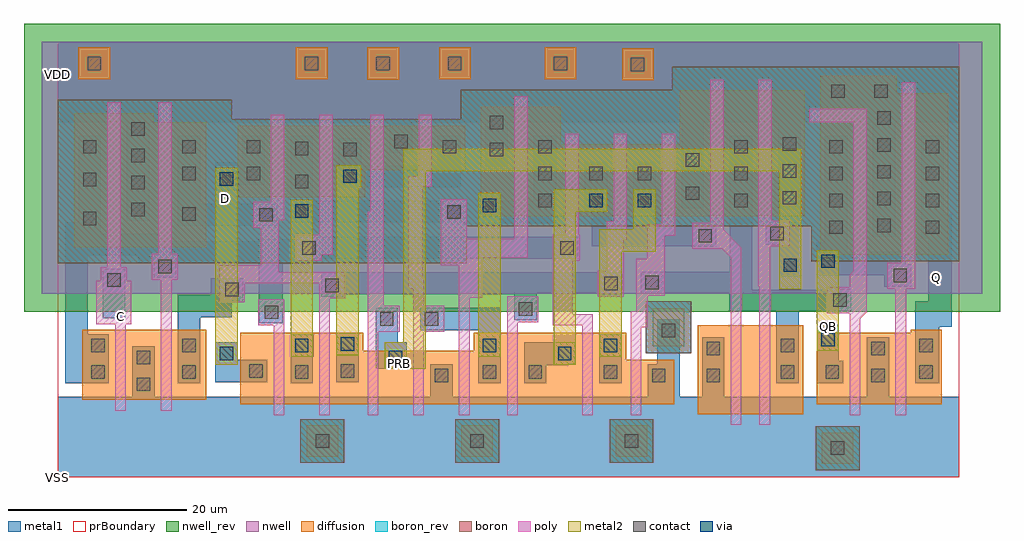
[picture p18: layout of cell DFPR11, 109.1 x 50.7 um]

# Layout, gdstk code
import gdstk
lib = gdstk.Library(unit=1e-6, precision=1e-09)
def R(c, l, rs):  # rectangles x0, y0, x1, y1
    for r in rs: c.add(gdstk.rectangle(r[:2], r[2:], *l))
def A(c, l, x, y, w, h, nx, ny, dx, dy):  # array of equal rectangles
    R(c, l, [(x+i*dx, y+j*dy, x+i*dx+w, y+j*dy+h) for i in range(nx) for j in range(ny)])
def P(c, l, *ps):  # polygons
    for p in ps: c.add(gdstk.Polygon(p, *l))
nwell = (1, 0)
diffusion = (2, 0)
nwell_rev = (3, 0)
poly = (4, 0)
boron = (5, 0)
boron_rev = (6, 0)
contact = (7, 0)
metal1 = (8, 0)
via = (9, 0)
metal2 = (10, 0)
prBoundary = (28, 0)

dfpr11 = lib.new_cell('DFPR11')
R(dfpr11, nwell, [(-1.75,20.5,103.35,48.7)])
R(dfpr11, diffusion, [(85.45,1.5,88.95,5), (27.85,2.3,31.35,5.8), (45.15,2.3,48.65,5.8), (62.4,2.3,65.9,5.8), (71.55,7.05,83.35,17), (2.75,8.65,16.65,16.5), (66.55,14.65,70.05,18.9), (63.1,44.4,66.65,47.95), (34.6,44.45,38.2,48.05), (2.3,44.5,5.9,48.05), (26.6,44.5,30.2,48.05), (42.65,44.5,46.2,48.05), (54.45,44.5,58,48.05)])
P(dfpr11, diffusion, [(85.25,24.9),(85.25,44.9),(93.8,44.9),(93.8,42.95),(99.55,42.95),(99.55,24.9)],
  [(1.85,25.7),(1.85,40.7),(10.75,40.7),(10.75,39.7),(16.65,39.7),(16.65,25.7)],
  [(20.15,31.3),(20.15,39.3),(45.55,39.3),(45.55,34.3),(34.4,34.3),(34.4,31.3)],
  [(20.45,8.15),(20.45,16.15),(34.15,16.15),(34.15,14.15),(46.55,14.15),(46.55,16.15),(63.55,16.15),(63.55,13.15),(68.95,13.15),(68.95,8.15)],
  [(47.3,29.2),(47.3,41.4),(56.25,41.4),(56.25,37.2),(69.55,37.2),(69.55,43.25),(83.55,43.25),(83.55,29.2)],
  [(84.85,8.15),(84.85,16.15),(95.35,16.15),(95.35,16.5),(98.85,16.5),(98.85,8.15)])
R(dfpr11, nwell_rev, [(-3.75,18.5,105.35,50.7)])
P(dfpr11, poly, [(88.55,6.95),(88.55,18.35),(86,18.35),(86,21.25),(88.55,21.25),(88.55,22.65),(88.95,23.05),(88.95,39.7),(84.05,39.7),(84.05,41.2),(90.45,41.2),(90.45,18.445),(89.75,17.745),(89.75,6.95)],
  [(6.45,7.45),(6.45,17.1),(4.35,17.1),(4.35,21.95),(4.85,21.95),(4.85,23.5),(5.55,23.5),(5.55,41.9),(7.05,41.9),(7.05,23.5),(7.75,23.5),(7.75,21.95),(8.25,21.95),(8.25,17.1),(7.65,17.1),(7.65,7.45)],
  [(11.55,7.45),(11.55,22.1),(10.55,22.1),(10.55,25),(11.25,25),(11.25,41.9),(12.75,41.9),(12.75,25),(13.45,25),(13.45,22.1),(12.75,22.1),(12.75,7.45)],
  [(24.15,6.95),(24.15,17),(22.45,17),(22.45,19.9),(25.35,19.9),(25.35,6.95)],
  [(26.65,24.2),(26.65,27.1),(29.25,27.1),(29.25,40.5),(30.75,40.5),(30.75,24.85),(29.55,24.85),(29.55,24.2)],
  [(29.25,6.95),(29.25,21.7),(20.95,21.7),(20.95,19.55),(18.05,19.55),(18.05,23.7),(22.7,23.7),(22.7,27.9),(21.85,27.9),(21.85,30.8),(23.85,30.8),(23.85,40.5),(25.35,40.5),(25.35,28.75),(24.75,28.75),(24.75,22.9),(32.15,22.9),(32.15,20),(30.45,20),(30.45,6.95)],
  [(34.65,6.95),(34.65,29.7),(34.95,29.7),(34.95,40.5),(36.45,40.5),(36.45,19.15),(38.25,19.15),(38.25,16.25),(35.85,16.25),(35.85,6.95)],
  [(39.75,6.95),(39.75,21.1),(39.2,21.1),(39.2,33.65),(40.35,33.65),(40.35,40.5),(41.85,40.5),(41.85,32.45),(40.85,32.45),(40.85,22.4),(40.95,22.4),(40.95,19.15),(43.25,19.15),(43.25,16.25),(40.95,16.25),(40.95,6.95)],
  [(44.85,6.95),(44.85,23.7),(42.85,23.7),(42.85,31.1),(45.75,31.1),(45.75,26.65),(51.05,26.65),(51.05,42.6),(52.55,42.6),(52.55,24.55),(47.5,24.55),(47.5,20.05),(46.05,20.05),(46.05,6.95)],
  [(50.25,6.95),(50.25,20.25),(53.75,20.25),(53.75,17.35),(51.45,17.35),(51.45,6.95)],
  [(58.65,6.95),(58.65,17),(55.35,17),(55.35,27.1),(56.75,27.1),(56.75,38.4),(58.25,38.4),(58.25,27.1),(58.4,27.1),(58.4,24.2),(57.6,24.2),(57.6,18.2),(59.85,18.2),(59.85,6.95)],
  [(78.45,5.85),(78.45,21.35),(78.35,21.35),(78.35,44.45),(79.85,44.45),(79.85,28.7),(81.85,28.7),(81.85,25.8),(79.65,25.8),(79.65,5.85)],
  [(93.65,6.95),(93.65,21.1),(92.75,21.1),(92.75,24),(94.35,24),(94.35,44.15),(95.85,44.15),(95.85,21.1),(94.85,21.1),(94.85,6.95)],
  [(60.4,20.2),(60.4,23.1),(61.4,23.1),(61.4,28.6),(62.15,28.6),(62.15,38.4),(63.65,38.4),(63.65,26.55),(63.3,26.55),(63.3,20.2)],
  [(64.05,6.95),(64.05,18.55),(64.7,18.55),(64.7,24.4),(65.9,24.4),(65.9,28.3),(67.55,28.3),(67.55,38.4),(69.05,38.4),(69.05,27),(67.9,27),(67.9,20.3),(65.95,20.3),(65.95,16.75),(65.25,16.75),(65.25,6.95)],
  [(75.25,5.85),(75.25,24.599),(74.299,25.55),(70.95,25.55),(70.95,28.45),(72.95,28.45),(72.95,44.45),(74.45,44.45),(74.45,27.65),(76.45,25.65),(76.45,5.85)])
R(dfpr11, boron, [(84.75,0.8,89.65,5.7), (27.15,1.6,32.05,6.5), (44.45,1.6,49.35,6.5), (61.7,1.6,66.6,6.5), (65.75,13.85,70.85,19.7)])
P(dfpr11, boron, [(0,23.95),(0,42.2),(19.5,42.2),(19.5,40),(45.05,40),(45.05,43.3),(68.7,43.3),(68.7,45.9),(100.8,45.9),(100.8,24.15),(84.25,24.15),(84.25,28.05),(45.75,28.05),(45.75,23.95)])
R(dfpr11, boron_rev, [(84.75,0.8,89.65,5.7), (27.15,1.6,32.05,6.5), (44.45,1.6,49.35,6.5), (61.7,1.6,66.6,6.5), (65.75,13.85,70.85,19.7)])
P(dfpr11, boron_rev, [(0,23.95),(0,42.2),(19.5,42.2),(19.5,40),(45.05,40),(45.05,43.3),(68.7,43.3),(68.7,45.9),(100.8,45.9),(100.8,24.15),(84.25,24.15),(84.25,28.05),(45.75,28.05),(45.75,23.95)])
A(dfpr11, contact, 86.25, 27.2, 1.5, 1.5, 1, 4, 0, 3)
A(dfpr11, contact, 97.05, 27.2, 1.5, 1.5, 1, 4, 0, 3)
A(dfpr11, contact, 91.65, 27.4, 1.5, 1.5, 1, 5, 0, 3)
A(dfpr11, contact, 8.25, 29.2, 1.5, 1.5, 1, 4, 0, 3)
A(dfpr11, contact, 53.75, 30.2, 1.5, 1.5, 1, 3, 0, 3)
A(dfpr11, contact, 75.65, 30.2, 1.5, 1.5, 1, 3, 0, 3)
A(dfpr11, contact, 81.05, 30.5, 1.5, 1.5, 1, 3, 0, 3)
A(dfpr11, contact, 27.65, 45.5, 1.5, 1.5, 3, 1, 8, 0)
R(dfpr11, contact, [(86.45,2.5,87.95,4), (28.85,3.3,30.35,4.8), (46.15,3.3,47.65,4.8), (63.4,3.3,64.9,4.8), (8.85,9.65,10.35,11.15), (42.15,10.65,43.65,12.15), (66.45,10.65,67.95,12.15), (72.55,10.65,74.05,12.15), (90.95,10.65,92.45,12.15), (3.75,11,5.25,12.5), (13.95,11,15.45,12.5), (26.55,11,28.05,12.5), (47.55,11,49.05,12.5), (52.65,11,54.15,12.5), (61.05,11,62.55,12.5), (80.85,11,82.35,12.5), (85.85,11,87.35,12.5), (96.35,11,97.85,12.5), (21.45,11.15,22.95,12.65), (31.65,11.15,33.15,12.65), (8.85,12.65,10.35,14.15), (72.55,13.65,74.05,15.15), (90.95,13.65,92.45,15.15), (3.75,14,5.25,15.5), (13.95,14,15.45,15.5), (80.85,14,82.35,15.5), (96.35,14,97.85,15.5), (67.55,15.65,69.05,17.15), (36.05,16.95,37.55,18.45), (41.05,16.95,42.55,18.45), (23.15,17.7,24.65,19.2), (51.55,18.05,53.05,19.55), (86.7,19.05,88.2,20.55), (18.75,20.25,20.25,21.75), (29.95,20.7,31.45,22.2), (61.1,20.9,62.6,22.4), (65.7,21,67.2,22.5), (5.55,21.3,7.05,22.8), (93.45,21.8,94.95,23.3), (11.25,22.8,12.75,24.3), (27.35,24.9,28.85,26.4), (56.2,24.9,57.7,26.4), (71.65,26.25,73.15,27.75), (79.65,26.5,81.15,28), (2.85,28.2,4.35,29.7), (22.55,28.6,24.05,30.1), (13.95,28.7,15.45,30.2), (43.55,28.9,45.05,30.4), (70.25,31,71.75,32.5), (26.55,32.3,28.05,33.8), (2.85,32.55,4.35,34.05), (13.95,33.2,15.45,34.7), (21.15,33.2,22.65,34.7), (59.45,33.2,60.95,34.7), (64.85,33.2,66.35,34.7), (70.25,34.7,71.75,36.2), (31.95,35.9,33.45,37.4), (48.3,35.9,49.8,37.4), (26.55,36,28.05,37.5), (2.85,36.2,4.35,37.7), (13.95,36.2,15.45,37.7), (21.15,36.2,22.65,37.7), (43.05,36.2,44.55,37.7), (37.65,36.8,39.15,38.3), (48.3,38.9,49.8,40.4), (86.5,42.4,88,43.9), (91.3,42.4,92.8,43.9), (64.1,45.4,65.6,46.9), (3.35,45.5,4.85,47), (55.45,45.5,56.95,47)])
R(dfpr11, metal1, [(0,0,100.8,9), (67.05,9,69.55,17.65), (60.55,10.5,63.05,16), (17.65,10.65,23.45,13.15), (31.15,10.65,33.65,16.15), (17.65,12.6,20.15,15.1), (5.05,17.75,7.55,23.3), (97.45,21,99.95,23.5), (26.05,28.5,28.55,31), (64.35,29.7,66.85,35.2), (47.05,30.887,49.55,31.789), (26.05,31.8,28.55,34.3), (0,39.7,100.8,48.7)])
P(dfpr11, metal1, [(91.15,26.9),(91.15,39.7),(83.05,39.7),(83.05,30),(80.55,30),(80.55,39.7),(72.25,39.7),(72.25,30.1),(69.75,30.1),(69.75,39.7),(50.3,39.7),(50.3,34.749),(47.8,34.749),(47.8,39.7),(39.65,39.7),(39.65,36.3),(37.15,36.3),(37.15,39.7),(10.25,39.7),(10.25,28.7),(7.75,28.7),(7.75,39.7),(0,39.7),(0,48.7),(100.8,48.7),(100.8,39.7),(93.65,39.7),(93.65,26.9)],
  [(95.85,10.5),(95.85,19.65),(97.35,19.65),(97.35,26.7),(96.55,26.7),(96.55,38.2),(99.05,38.2),(99.05,29.35),(99.95,29.35),(99.95,16.8),(98.55,16.8),(98.55,10.5)],
  [(13.45,10.5),(13.45,20.4),(17.1,20.4),(17.1,22.25),(20.75,22.25),(20.75,19.75),(19.45,19.75),(19.45,17.9),(15.95,17.9),(15.95,10.5)],
  [(17.65,32.1),(17.65,35.2),(20.65,35.2),(20.65,38.2),(23.15,38.2),(23.15,32.7),(20.15,32.7),(20.15,32.1)],
  [(13.45,28.1),(13.45,38.2),(15.95,38.2),(15.95,30.6),(24.55,30.6),(24.55,28.1)],
  [(26.05,10.5),(26.05,16),(28.65,16),(28.65,13.45),(28.55,13.45),(28.55,10.5)],
  [(31.45,32.4),(31.45,37.9),(33.95,37.9),(33.95,34.8),(42.5,34.8),(42.5,38.2),(45.05,38.2),(45.05,32.55),(45,32.55),(45,32.4)],
  [(43.05,28.4),(43.05,28.5),(26.05,28.5),(26.05,38.15),(28.55,38.15),(28.55,30.9),(45.55,30.9),(45.55,28.4)],
  [(47.05,10.5),(47.05,16.45),(40.55,16.45),(40.55,18.95),(49.55,18.95),(49.55,10.5)],
  [(47.05,28.4),(47.05,30.9),(53.25,30.9),(53.25,38.2),(55.75,38.2),(55.75,28.4)],
  [(52.15,10.5),(52.15,15.1),(57.95,15.1),(57.95,12.6),(57.1,12.6),(57.1,12.55),(54.65,12.55),(54.65,10.5)],
  [(0.85,10.5),(0.85,28.5),(2.35,28.5),(2.35,38.2),(4.85,38.2),(4.85,27.2),(11.55,27.2),(11.55,26.4),(22.5,26.4),(22.5,26.6),(26.85,26.6),(26.85,26.9),(58.2,26.9),(58.2,24.4),(27.95,24.4),(27.95,23.85),(25.15,23.85),(25.15,17.2),(22.5,17.2),(22.5,24),(13.25,24),(13.25,22.3),(10.75,22.3),(10.75,24),(9.05,24),(9.05,24.8),(3.35,24.8),(3.35,16),(5.75,16),(5.75,10.5)],
  [(51.05,17.55),(51.05,20.45),(31.95,20.45),(31.95,20.2),(29.45,20.2),(29.45,22.9),(63.1,22.9),(63.1,20.4),(60.55,20.4),(60.55,20.5),(53.55,20.5),(53.55,17.55)],
  [(71.15,25.75),(71.15,25.8),(59.7,25.8),(59.7,29.7),(58.95,29.7),(58.95,35.2),(61.45,35.2),(61.45,32.15),(62.1,32.15),(62.1,28.2),(71.15,28.2),(71.15,28.25),(73.65,28.25),(73.65,25.75)],
  [(84.85,10.5),(84.85,17.05),(87.35,17.05),(87.35,13),(87.85,13),(87.85,10.5)],
  [(80.35,10.5),(80.35,18.55),(75.1,18.55),(75.1,20.6),(67.7,20.6),(67.7,20.5),(65.2,20.5),(65.2,23),(75.15,23),(75.15,38.2),(77.65,38.2),(77.65,20.95),(86.2,20.95),(86.2,21.05),(88.7,21.05),(88.7,18.55),(82.85,18.55),(82.85,10.5)],
  [(35.55,12.15),(35.55,18.95),(38.05,18.95),(38.05,15.1),(39.05,15.1),(39.05,12.15)],
  [(0,0),(0,9),(8.35,9),(8.35,14.65),(10.85,14.65),(10.85,9),(41.65,9),(41.65,12.65),(44.15,12.65),(44.15,9),(65.95,9),(65.95,12.65),(68.45,12.65),(68.45,9),(72.05,9),(72.05,15.65),(74.55,15.65),(74.55,9),(90.45,9),(90.45,15.65),(92.95,15.65),(92.95,9),(100.8,9),(100.8,0)],
  [(80.65,22.45),(80.65,26),(79.15,26),(79.15,28.5),(83.15,28.5),(83.15,22.45)],
  [(92.4,21.3),(92.4,22.6),(84.85,22.6),(84.85,26.2),(85.75,26.2),(85.75,38.2),(88.25,38.2),(88.25,25.2),(94.8,25.2),(94.8,23.8),(95.45,23.8),(95.45,21.3)])
R(dfpr11, via, [(37.05,12.65,38.55,14.15), (18.15,13.1,19.65,14.6), (55.95,13.1,57.45,14.6), (26.55,14,28.05,15.5), (47.55,14,49.05,15.5), (61.05,14,62.55,15.5), (31.65,14.15,33.15,15.65), (85.35,14.65,86.85,16.15), (81.15,22.95,82.65,24.45), (85.35,23.4,86.85,24.9), (26.55,29,28.05,30.5), (47.55,29.612,49.05,31.112), (59.45,30.2,60.95,31.7), (64.85,30.2,66.35,31.7), (18.15,32.6,19.65,34.1), (31.95,32.9,33.45,34.4)])
R(dfpr11, metal2, [(17.65,12.6,20.15,34.6), (26.05,13.45,28.55,31.05), (47.05,13.5,49.55,31.789), (84.85,14.15,87.35,25.4)])
P(dfpr11, metal2, [(55.45,12.6),(55.45,32.2),(61.45,32.2),(61.45,29.7),(57.95,29.7),(57.95,12.6)],
  [(60.55,13.5),(60.55,27.7),(64.35,27.7),(64.35,32.2),(66.85,32.2),(66.85,25.2),(63.05,25.2),(63.05,13.5)],
  [(31.15,13.65),(31.15,34.9),(33.95,34.9),(33.95,32.4),(33.65,32.4),(33.65,13.65)],
  [(36.55,12.15),(36.55,15.1),(38.65,15.1),(38.65,36.705),(83.15,36.705),(83.15,21),(80.65,21),(80.65,34.205),(41.15,34.205),(41.15,12.15)])
R(dfpr11, prBoundary, [(0,0,100.8,48.7)])
dfpr11.add(gdstk.Label('VSS', (0.001,0.001), layer=8, texttype=7))
dfpr11.add(gdstk.Label('VDD', (0.002,45), layer=8, texttype=7))
dfpr11.add(gdstk.Label('C', (7.048,17.985), layer=8, texttype=7))
dfpr11.add(gdstk.Label('Q', (98.3,22.28), layer=8, texttype=7))
dfpr11.add(gdstk.Label('QB', (86.2,16.85), layer=8, texttype=7))
dfpr11.add(gdstk.Label('PRB', (38.2,12.7), layer=8, texttype=7))
dfpr11.add(gdstk.Label('D', (18.81,31.19), layer=10, texttype=7))

lib.write_gds('DFPR11.gds')
